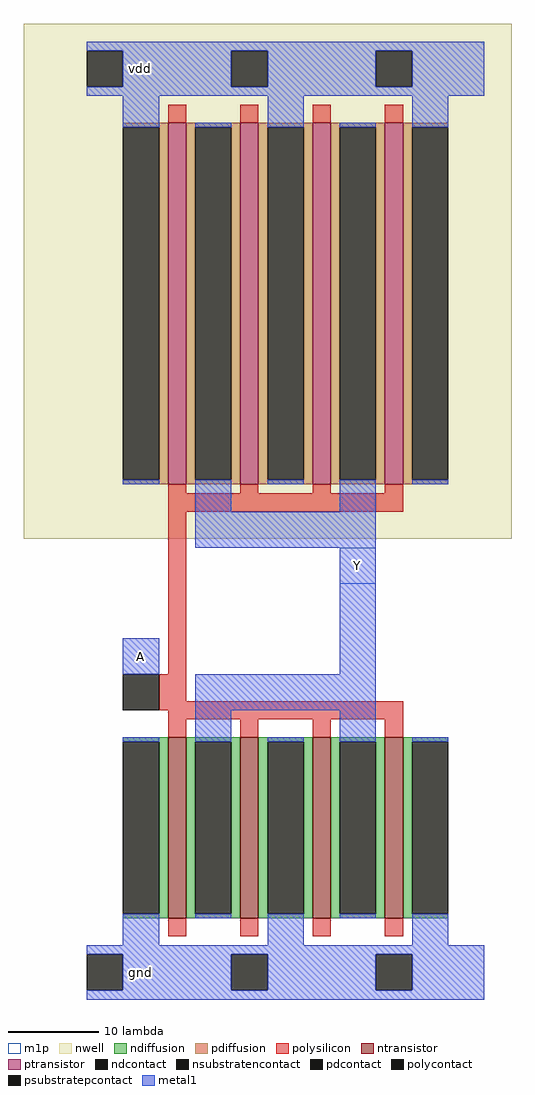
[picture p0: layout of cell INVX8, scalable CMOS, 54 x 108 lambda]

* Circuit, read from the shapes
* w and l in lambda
.subckt INVX8 A Y vdd gnd
M1 Y A gnd gnd nfet w=20 l=2 m=4
M2 Y A vdd vdd pfet w=40 l=2 m=4
.ends

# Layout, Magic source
magic
tech scmos
magscale 1 2
<< nwell >>
rect -18 96 90 210
<< ntransistor >>
rect 14 12 18 52
rect 30 12 34 52
rect 46 12 50 52
rect 62 12 66 52
<< ptransistor >>
rect 14 108 18 188
rect 30 108 34 188
rect 46 108 50 188
rect 62 108 66 188
<< ndiffusion >>
rect 4 51 14 52
rect 12 13 14 51
rect 4 12 14 13
rect 18 51 30 52
rect 18 13 20 51
rect 28 13 30 51
rect 18 12 30 13
rect 34 51 46 52
rect 34 13 36 51
rect 44 13 46 51
rect 34 12 46 13
rect 50 51 62 52
rect 50 13 52 51
rect 60 13 62 51
rect 50 12 62 13
rect 66 51 76 52
rect 66 13 68 51
rect 66 12 76 13
<< pdiffusion >>
rect 4 187 14 188
rect 12 109 14 187
rect 4 108 14 109
rect 18 187 30 188
rect 18 109 20 187
rect 28 109 30 187
rect 18 108 30 109
rect 34 187 46 188
rect 34 109 36 187
rect 44 109 46 187
rect 34 108 46 109
rect 50 187 62 188
rect 50 109 52 187
rect 60 109 62 187
rect 50 108 62 109
rect 66 187 76 188
rect 66 109 68 187
rect 66 108 76 109
<< ndcontact >>
rect 4 13 12 51
rect 20 13 28 51
rect 36 13 44 51
rect 52 13 60 51
rect 68 13 76 51
<< pdcontact >>
rect 4 109 12 187
rect 20 109 28 187
rect 36 109 44 187
rect 52 109 60 187
rect 68 109 76 187
<< psubstratepcontact >>
rect -4 -4 4 4
rect 28 -4 36 4
rect 60 -4 68 4
<< nsubstratencontact >>
rect -4 196 4 204
rect 28 196 36 204
rect 60 196 68 204
<< polysilicon >>
rect 14 188 18 192
rect 30 188 34 192
rect 46 188 50 192
rect 62 188 66 192
rect 14 106 18 108
rect 30 106 34 108
rect 46 106 50 108
rect 62 106 66 108
rect 14 102 66 106
rect 14 66 18 102
rect 12 60 18 66
rect 12 58 66 60
rect 14 56 66 58
rect 14 52 18 56
rect 30 52 34 56
rect 46 52 50 56
rect 62 52 66 56
rect 14 8 18 12
rect 30 8 34 12
rect 46 8 50 12
rect 62 8 66 12
<< polycontact >>
rect 4 58 12 66
<< metal1 >>
rect -4 204 84 206
rect 4 196 28 204
rect 36 196 60 204
rect 68 196 84 204
rect -4 194 84 196
rect 4 187 12 194
rect 4 108 12 109
rect 20 187 28 188
rect 20 102 28 109
rect 36 187 44 194
rect 36 108 44 109
rect 52 187 60 188
rect 52 102 60 109
rect 68 187 76 194
rect 68 108 76 109
rect 20 94 60 102
rect 4 66 12 74
rect 52 66 60 94
rect 20 58 60 66
rect 4 51 12 52
rect 4 6 12 13
rect 20 51 28 58
rect 20 12 28 13
rect 36 51 44 52
rect 36 6 44 13
rect 52 51 60 58
rect 52 12 60 13
rect 68 51 76 52
rect 68 6 76 13
rect -4 4 84 6
rect 4 -4 28 4
rect 36 -4 60 4
rect 68 -4 84 4
rect -4 -6 84 -4
<< m1p >>
rect 52 86 60 94
rect 4 66 12 74
<< labels >>
rlabel metal1 8 200 8 200 4 vdd
port 3 se
rlabel metal1 8 0 8 0 4 gnd
port 4 se
rlabel metal1 8 70 8 70 4 A
port 1 se
rlabel metal1 56 90 56 90 4 Y
port 2 se
<< end >>
